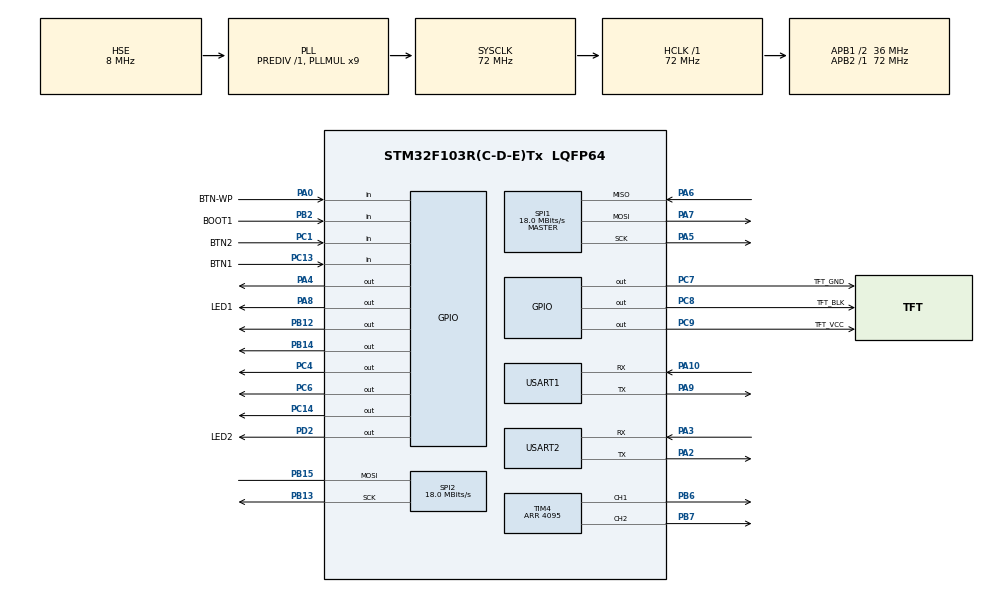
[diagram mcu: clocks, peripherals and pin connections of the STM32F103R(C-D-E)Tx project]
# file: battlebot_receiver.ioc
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FREERTOS.Tasks01=defaultTask,0,128,StartDefaultTask,Default,NULL,Dynamic,NULL,NULL;adjustDisplay,0,128,StartAdjustDisplay,Default,NULL,Dynamic,NULL,NULL;readInputs,-3,128,StartReadInputs,Default,NULL,Dynamic,NULL,NULL
FREERTOS.configTOTAL_HEAP_SIZE=6144
FREERTOS.configUSE_NEWLIB_REENTRANT=1
Mcu.Family=STM32F1
Mcu.Name=STM32F103R(C-D-E)Tx
Mcu.Package=LQFP64
NVIC.PriorityGroup=NVIC_PRIORITYGROUP_4
NVIC.TIM1_UP_IRQn=true\:15\:0\:false\:false\:true\:false\:false\:true\:true
NVIC.TimeBase=TIM1_UP_IRQn
NVIC.TimeBaseIP=TIM1
PA0-WKUP.GPIO_Label=BTN-WP
PA0-WKUP.Signal=GPIO_Input
PA10.Mode=Asynchronous
PA10.Signal=USART1_RX
PA13.Mode=Serial_Wire
PA13.Signal=SYS_JTMS-SWDIO
PA14.Mode=Serial_Wire
PA14.Signal=SYS_JTCK-SWCLK
PA2.Mode=Asynchronous
PA2.Signal=USART2_TX
PA3.Mode=Asynchronous
PA3.Signal=USART2_RX
PA4.Signal=GPIO_Output
PA5.Mode=Full_Duplex_Master
PA5.Signal=SPI1_SCK
PA6.Mode=Full_Duplex_Master
PA6.Signal=SPI1_MISO
PA7.Mode=Full_Duplex_Master
PA7.Signal=SPI1_MOSI
PA8.GPIO_Label=LED1
PA8.Signal=GPIO_Output
PA9.Mode=Asynchronous
PA9.Signal=USART1_TX
PB12.Signal=GPIO_Output
PB13.Mode=Simplex_Bidirectional_Master
PB13.Signal=SPI2_SCK
PB14.Signal=GPIO_Output
PB15.Mode=Simplex_Bidirectional_Master
PB15.Signal=SPI2_MOSI
PB2.GPIO_Label=BOOT1
PB2.Signal=GPIO_Input
PB6.Signal=S_TIM4_CH1
PB7.Signal=S_TIM4_CH2
PC1.GPIO_Label=BTN2
PC1.Signal=GPIO_Input
PC13-TAMPER-RTC.GPIO_Label=BTN1
PC13-TAMPER-RTC.Signal=GPIO_Input
PC14-OSC32_IN.Signal=GPIO_Output
PC4.Signal=GPIO_Output
PC6.Signal=GPIO_Output
PC7.GPIO_Label=TFT_GND
PC7.Signal=GPIO_Output
PC8.GPIO_Label=TFT_BLK
PC8.PinState=GPIO_PIN_SET
PC8.Signal=GPIO_Output
PC9.GPIO_Label=TFT_VCC
PC9.PinState=GPIO_PIN_SET
PC9.Signal=GPIO_Output
PD0-OSC_IN.Mode=HSE-External-Oscillator
PD0-OSC_IN.Signal=RCC_OSC_IN
PD1-OSC_OUT.Mode=HSE-External-Oscillator
PD1-OSC_OUT.Signal=RCC_OSC_OUT
PD2.GPIO_Label=LED2
PD2.Signal=GPIO_Output
ProjectManager.HeapSize=0x200
ProjectManager.StackSize=0x400
ProjectManager.TargetToolchain=STM32CubeIDE
RCC.AHBFreq_Value=72000000
RCC.APB1CLKDivider=RCC_HCLK_DIV2
RCC.APB1Freq_Value=36000000
RCC.APB1TimFreq_Value=72000000
RCC.APB2Freq_Value=72000000
RCC.APB2TimFreq_Value=72000000
RCC.HCLKFreq_Value=72000000
RCC.PLLMUL=RCC_PLL_MUL9
RCC.PLLSourceVirtual=RCC_PLLSOURCE_HSE
RCC.SYSCLKFreq_VALUE=72000000
RCC.SYSCLKSource=RCC_SYSCLKSOURCE_PLLCLK
RCC.USBFreq_Value=72000000
SH.S_TIM4_CH1.0=TIM4_CH1,PWM Generation1 CH1
SH.S_TIM4_CH2.0=TIM4_CH2,PWM Generation2 CH2
SPI1.BaudRatePrescaler=SPI_BAUDRATEPRESCALER_4
SPI1.CalculateBaudRate=18.0 MBits/s
SPI1.Direction=SPI_DIRECTION_2LINES
SPI1.Mode=SPI_MODE_MASTER
SPI1.VirtualType=VM_MASTER
SPI2.BaudRatePrescaler=SPI_BAUDRATEPRESCALER_2
SPI2.CalculateBaudRate=18.0 MBits/s
SPI2.DataSize=SPI_DATASIZE_8BIT
SPI2.Direction=SPI_DIRECTION_1LINE
SPI2.Mode=SPI_MODE_MASTER
SPI2.VirtualType=VM_MASTER
TIM4.Channel-PWM\ Generation1\ CH1=TIM_CHANNEL_1
TIM4.Channel-PWM\ Generation2\ CH2=TIM_CHANNEL_2
TIM4.Period=4095
USART1.VirtualMode=VM_ASYNC
USART2.VirtualMode=VM_ASYNC
VP_FREERTOS_VS_CMSIS_V1.Mode=CMSIS_V1
VP_SYS_VS_tim1.Mode=TIM1
VP_TIM7_VS_ClockSourceINT.Mode=Enable_Timer
board=custom

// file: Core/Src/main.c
/* USER CODE BEGIN Header */
/**
  ******************************************************************************
  * @file           : main.c
  * @brief          : Main program body
  ******************************************************************************
  * @attention
  *
  * Copyright (c) 2024 STMicroelectronics.
  * All rights reserved.
  *
  * This software is licensed under terms that can be found in the LICENSE file
  * in the root directory of this software component.
  * If no LICENSE file comes with this software, it is provided AS-IS.
  *
  ******************************************************************************
  */
/* USER CODE END Header */
#include "main.h"
#include "cmsis_os.h"

/* USER CODE BEGIN Includes */
#include <NRF24L01.h>
#include <string.h>
#include <string.h>
#include "st7735.h"
#include "fonts.h"
#include "testimg.h"
/* USER CODE END Includes */

SPI_HandleTypeDef hspi1;
SPI_HandleTypeDef hspi2;

TIM_HandleTypeDef htim4;
TIM_HandleTypeDef htim7;

UART_HandleTypeDef huart1;
UART_HandleTypeDef huart2;

osThreadId defaultTaskHandle;
osThreadId adjustDisplayHandle;
osThreadId readInputsHandle;
/* USER CODE BEGIN PV */
char commMethod = 0;
uint8_t controllerBat = 0;
/* USER CODE END PV */

void SystemClock_Config(void);
static void MX_GPIO_Init(void);
static void MX_SPI1_Init(void);
static void MX_SPI2_Init(void);
static void MX_TIM4_Init(void);
static void MX_USART1_UART_Init(void);
static void MX_USART2_UART_Init(void);
static void MX_TIM7_Init(void);
void StartDefaultTask(void const * argument);
void StartAdjustDisplay(void const * argument);
void StartReadInputs(void const * argument);

/* USER CODE BEGIN 0 */
int tempColor(int temp){
	if(atoi(temp) < 35){
		return ST7735_BLUE;
	}
	else if(atoi(temp) < 60){
		return ST7735_YELLOW;
	}
	else{
		return ST7735_RED;
	}
}
int batColor(int battery){
	if(atoi(battery) < 33){
		return ST7735_RED;
	}
	else if(atoi(battery) < 66){
		return ST7735_YELLOW;
	}
	else{
		return ST7735_GREEN;
	}
}
int connectionColor(char connectionStatus){
	if(strcmp(connectionStatus, "ok")){
		return ST7735_GREEN;
	}
	else if(strcmp(connectionStatus, "connecting...")){
		return ST7735_YELLOW;
	}
	else{
		return ST7735_RED;
	}
}

uint8_t RxAddress[] = {0x00,0xDD,0xCC,0xBB,0xAA};
uint8_t RxData[32];

uint8_t RFchannel = 69;
uint8_t data[50];

uint8_t TxAddress[] = {0xEE,0xDD,0xCC,0xBB,0xAA};
uint8_t TxData[] = "Hello World\n";

/* USER CODE END 0 */

int main(void)
{

  /* MCU Configuration--------------------------------------------------------*/

  /* Reset of all peripherals, Initializes the Flash interface and the Systick. */
  HAL_Init();

  /* Configure the system clock */
  SystemClock_Config();

  /* Initialize all configured peripherals */
  MX_GPIO_Init();
  MX_SPI1_Init();
  MX_SPI2_Init();
  MX_TIM4_Init();
  MX_USART1_UART_Init();
  MX_USART2_UART_Init();
  MX_TIM7_Init();
  /* USER CODE BEGIN 2 */
//  if(HAL_GPIO_ReadPin(BOOT1_GPIO_Port, BOOT1_Pin) == SET){
//	  commMethod = 'n';
//  }
//  else{
//	  commMethod = 'b';
//  }

  /* USER CODE END 2 */

  /* Create the thread(s) */
  /* definition and creation of defaultTask */
  osThreadDef(defaultTask, StartDefaultTask, osPriorityNormal, 0, 128);
  defaultTaskHandle = osThreadCreate(osThread(defaultTask), NULL);

  /* definition and creation of adjustDisplay */
  osThreadDef(adjustDisplay, StartAdjustDisplay, osPriorityNormal, 0, 128);
  adjustDisplayHandle = osThreadCreate(osThread(adjustDisplay), NULL);

  /* definition and creation of readInputs */
  osThreadDef(readInputs, StartReadInputs, osPriorityIdle, 0, 128);
  readInputsHandle = osThreadCreate(osThread(readInputs), NULL);

  /* Start scheduler */
  osKernelStart();

  /* We should never get here as control is now taken by the scheduler */

  /* Infinite loop */
  while (1)
  {

  }
}

void SystemClock_Config(void)
{
  RCC_OscInitTypeDef RCC_OscInitStruct = {0};
  RCC_ClkInitTypeDef RCC_ClkInitStruct = {0};

  /** Initializes the RCC Oscillators according to the specified parameters
  * in the RCC_OscInitTypeDef structure.
  */
  RCC_OscInitStruct.OscillatorType = RCC_OSCILLATORTYPE_HSE;
  RCC_OscInitStruct.HSEState = RCC_HSE_ON;
  RCC_OscInitStruct.HSEPredivValue = RCC_HSE_PREDIV_DIV1;
  RCC_OscInitStruct.HSIState = RCC_HSI_ON;
  RCC_OscInitStruct.PLL.PLLState = RCC_PLL_ON;
  RCC_OscInitStruct.PLL.PLLSource = RCC_PLLSOURCE_HSE;
  RCC_OscInitStruct.PLL.PLLMUL = RCC_PLL_MUL9;
  if (HAL_RCC_OscConfig(&RCC_OscInitStruct) != HAL_OK)
  {
    Error_Handler();
  }

  /** Initializes the CPU, AHB and APB buses clocks
  */
  RCC_ClkInitStruct.ClockType = RCC_CLOCKTYPE_HCLK|RCC_CLOCKTYPE_SYSCLK
                              |RCC_CLOCKTYPE_PCLK1|RCC_CLOCKTYPE_PCLK2;
  RCC_ClkInitStruct.SYSCLKSource = RCC_SYSCLKSOURCE_PLLCLK;
  RCC_ClkInitStruct.AHBCLKDivider = RCC_SYSCLK_DIV1;
  RCC_ClkInitStruct.APB1CLKDivider = RCC_HCLK_DIV2;
  RCC_ClkInitStruct.APB2CLKDivider = RCC_HCLK_DIV1;

  if (HAL_RCC_ClockConfig(&RCC_ClkInitStruct, FLASH_LATENCY_2) != HAL_OK)
  {
    Error_Handler();
  }
}

static void MX_SPI1_Init(void)
{

  /* SPI1 parameter configuration*/
  hspi1.Instance = SPI1;
  hspi1.Init.Mode = SPI_MODE_MASTER;
  hspi1.Init.Direction = SPI_DIRECTION_2LINES;
  hspi1.Init.DataSize = SPI_DATASIZE_8BIT;
  hspi1.Init.CLKPolarity = SPI_POLARITY_LOW;
  hspi1.Init.CLKPhase = SPI_PHASE_1EDGE;
  hspi1.Init.NSS = SPI_NSS_SOFT;
  hspi1.Init.BaudRatePrescaler = SPI_BAUDRATEPRESCALER_4;
  hspi1.Init.FirstBit = SPI_FIRSTBIT_MSB;
  hspi1.Init.TIMode = SPI_TIMODE_DISABLE;
  hspi1.Init.CRCCalculation = SPI_CRCCALCULATION_DISABLE;
  hspi1.Init.CRCPolynomial = 10;
  if (HAL_SPI_Init(&hspi1) != HAL_OK)
  {
    Error_Handler();
  }

}

static void MX_SPI2_Init(void)
{

  /* SPI2 parameter configuration*/
  hspi2.Instance = SPI2;
  hspi2.Init.Mode = SPI_MODE_MASTER;
  hspi2.Init.Direction = SPI_DIRECTION_1LINE;
  hspi2.Init.DataSize = SPI_DATASIZE_8BIT;
  hspi2.Init.CLKPolarity = SPI_POLARITY_LOW;
  hspi2.Init.CLKPhase = SPI_PHASE_1EDGE;
  hspi2.Init.NSS = SPI_NSS_SOFT;
  hspi2.Init.BaudRatePrescaler = SPI_BAUDRATEPRESCALER_2;
  hspi2.Init.FirstBit = SPI_FIRSTBIT_MSB;
  hspi2.Init.TIMode = SPI_TIMODE_DISABLE;
  hspi2.Init.CRCCalculation = SPI_CRCCALCULATION_DISABLE;
  hspi2.Init.CRCPolynomial = 10;
  if (HAL_SPI_Init(&hspi2) != HAL_OK)
  {
    Error_Handler();
  }

}

static void MX_TIM4_Init(void)
{

  TIM_MasterConfigTypeDef sMasterConfig = {0};
  TIM_OC_InitTypeDef sConfigOC = {0};

  htim4.Instance = TIM4;
  htim4.Init.Prescaler = 0;
  htim4.Init.CounterMode = TIM_COUNTERMODE_UP;
  htim4.Init.Period = 4095;
  htim4.Init.ClockDivision = TIM_CLOCKDIVISION_DIV1;
  htim4.Init.AutoReloadPreload = TIM_AUTORELOAD_PRELOAD_DISABLE;
  if (HAL_TIM_PWM_Init(&htim4) != HAL_OK)
  {
    Error_Handler();
  }
  sMasterConfig.MasterOutputTrigger = TIM_TRGO_RESET;
  sMasterConfig.MasterSlaveMode = TIM_MASTERSLAVEMODE_DISABLE;
  if (HAL_TIMEx_MasterConfigSynchronization(&htim4, &sMasterConfig) != HAL_OK)
  {
    Error_Handler();
  }
  sConfigOC.OCMode = TIM_OCMODE_PWM1;
  sConfigOC.Pulse = 0;
  sConfigOC.OCPolarity = TIM_OCPOLARITY_HIGH;
  sConfigOC.OCFastMode = TIM_OCFAST_DISABLE;
  if (HAL_TIM_PWM_ConfigChannel(&htim4, &sConfigOC, TIM_CHANNEL_1) != HAL_OK)
  {
    Error_Handler();
  }
  if (HAL_TIM_PWM_ConfigChannel(&htim4, &sConfigOC, TIM_CHANNEL_2) != HAL_OK)
  {
    Error_Handler();
  }
  HAL_TIM_MspPostInit(&htim4);

}

static void MX_TIM7_Init(void)
{

  TIM_MasterConfigTypeDef sMasterConfig = {0};

  htim7.Instance = TIM7;
  htim7.Init.Prescaler = 0;
  htim7.Init.CounterMode = TIM_COUNTERMODE_UP;
  htim7.Init.Period = 65535;
  htim7.Init.AutoReloadPreload = TIM_AUTORELOAD_PRELOAD_DISABLE;
  if (HAL_TIM_Base_Init(&htim7) != HAL_OK)
  {
    Error_Handler();
  }
  sMasterConfig.MasterOutputTrigger = TIM_TRGO_RESET;
  sMasterConfig.MasterSlaveMode = TIM_MASTERSLAVEMODE_DISABLE;
  if (HAL_TIMEx_MasterConfigSynchronization(&htim7, &sMasterConfig) != HAL_OK)
  {
    Error_Handler();
  }

}

static void MX_USART1_UART_Init(void)
{

  huart1.Instance = USART1;
  huart1.Init.BaudRate = 115200;
  huart1.Init.WordLength = UART_WORDLENGTH_8B;
  huart1.Init.StopBits = UART_STOPBITS_1;
  huart1.Init.Parity = UART_PARITY_NONE;
  huart1.Init.Mode = UART_MODE_TX_RX;
  huart1.Init.HwFlowCtl = UART_HWCONTROL_NONE;
  huart1.Init.OverSampling = UART_OVERSAMPLING_16;
  if (HAL_UART_Init(&huart1) != HAL_OK)
  {
    Error_Handler();
  }

}

static void MX_USART2_UART_Init(void)
{

  huart2.Instance = USART2;
  huart2.Init.BaudRate = 115200;
  huart2.Init.WordLength = UART_WORDLENGTH_8B;
  huart2.Init.StopBits = UART_STOPBITS_1;
  huart2.Init.Parity = UART_PARITY_NONE;
  huart2.Init.Mode = UART_MODE_TX_RX;
  huart2.Init.HwFlowCtl = UART_HWCONTROL_NONE;
  huart2.Init.OverSampling = UART_OVERSAMPLING_16;
  if (HAL_UART_Init(&huart2) != HAL_OK)
  {
    Error_Handler();
  }

}

static void MX_GPIO_Init(void)
{
  GPIO_InitTypeDef GPIO_InitStruct = {0};

  /* GPIO Ports Clock Enable */
  __HAL_RCC_GPIOC_CLK_ENABLE();
  __HAL_RCC_GPIOD_CLK_ENABLE();
  __HAL_RCC_GPIOA_CLK_ENABLE();
  __HAL_RCC_GPIOB_CLK_ENABLE();

  /*Configure GPIO pin Output Level */
  HAL_GPIO_WritePin(GPIOC, GPIO_PIN_14|GPIO_PIN_4|GPIO_PIN_6|TFT_GND_Pin, GPIO_PIN_RESET);

  /*Configure GPIO pin Output Level */
  HAL_GPIO_WritePin(GPIOA, GPIO_PIN_4|LED1_Pin, GPIO_PIN_RESET);

  /*Configure GPIO pin Output Level */
  HAL_GPIO_WritePin(GPIOB, GPIO_PIN_12|GPIO_PIN_14, GPIO_PIN_RESET);

  /*Configure GPIO pin Output Level */
  HAL_GPIO_WritePin(GPIOC, TFT_BLK_Pin|TFT_VCC_Pin, GPIO_PIN_SET);

  /*Configure GPIO pin Output Level */
  HAL_GPIO_WritePin(LED2_GPIO_Port, LED2_Pin, GPIO_PIN_RESET);

  /*Configure GPIO pins : BTN1_Pin BTN2_Pin */
  GPIO_InitStruct.Pin = BTN1_Pin|BTN2_Pin;
  GPIO_InitStruct.Mode = GPIO_MODE_INPUT;
  GPIO_InitStruct.Pull = GPIO_NOPULL;
  HAL_GPIO_Init(GPIOC, &GPIO_InitStruct);

  /*Configure GPIO pins : PC14 PC4 PC6 TFT_GND_Pin
                           TFT_BLK_Pin TFT_VCC_Pin */
  GPIO_InitStruct.Pin = GPIO_PIN_14|GPIO_PIN_4|GPIO_PIN_6|TFT_GND_Pin
                          |TFT_BLK_Pin|TFT_VCC_Pin;
  GPIO_InitStruct.Mode = GPIO_MODE_OUTPUT_PP;
  GPIO_InitStruct.Pull = GPIO_NOPULL;
  GPIO_InitStruct.Speed = GPIO_SPEED_FREQ_LOW;
  HAL_GPIO_Init(GPIOC, &GPIO_InitStruct);

  /*Configure GPIO pin : BTN_WP_Pin */
  GPIO_InitStruct.Pin = BTN_WP_Pin;
  GPIO_InitStruct.Mode = GPIO_MODE_INPUT;
  GPIO_InitStruct.Pull = GPIO_NOPULL;
  HAL_GPIO_Init(BTN_WP_GPIO_Port, &GPIO_InitStruct);

  /*Configure GPIO pins : PA4 LED1_Pin */
  GPIO_InitStruct.Pin = GPIO_PIN_4|LED1_Pin;
  GPIO_InitStruct.Mode = GPIO_MODE_OUTPUT_PP;
  GPIO_InitStruct.Pull = GPIO_NOPULL;
  GPIO_InitStruct.Speed = GPIO_SPEED_FREQ_LOW;
  HAL_GPIO_Init(GPIOA, &GPIO_InitStruct);

  /*Configure GPIO pin : BOOT1_Pin */
  GPIO_InitStruct.Pin = BOOT1_Pin;
  GPIO_InitStruct.Mode = GPIO_MODE_INPUT;
  GPIO_InitStruct.Pull = GPIO_NOPULL;
  HAL_GPIO_Init(BOOT1_GPIO_Port, &GPIO_InitStruct);

  /*Configure GPIO pins : PB12 PB14 */
  GPIO_InitStruct.Pin = GPIO_PIN_12|GPIO_PIN_14;
  GPIO_InitStruct.Mode = GPIO_MODE_OUTPUT_PP;
  GPIO_InitStruct.Pull = GPIO_NOPULL;
  GPIO_InitStruct.Speed = GPIO_SPEED_FREQ_LOW;
  HAL_GPIO_Init(GPIOB, &GPIO_InitStruct);

  /*Configure GPIO pin : LED2_Pin */
  GPIO_InitStruct.Pin = LED2_Pin;
  GPIO_InitStruct.Mode = GPIO_MODE_OUTPUT_PP;
  GPIO_InitStruct.Pull = GPIO_NOPULL;
  GPIO_InitStruct.Speed = GPIO_SPEED_FREQ_LOW;
  HAL_GPIO_Init(LED2_GPIO_Port, &GPIO_InitStruct);

}

void StartDefaultTask(void const * argument)
{
  /* USER CODE BEGIN 5 */
	if(commMethod == 'n'){
		HAL_GPIO_WritePin(LED2_GPIO_Port, LED2_Pin, GPIO_PIN_SET);
	}
  /* Infinite loop */
  for(;;)
  {
	HAL_GPIO_TogglePin(LED1_GPIO_Port, LED1_Pin);
    osDelay(500);
  }
  /* USER CODE END 5 */
}

void StartAdjustDisplay(void const * argument)
{
  /* USER CODE BEGIN StartAdjustDisplay */
	ST7735_Init();
	ST7735_FillScreen(ST7735_WHITE);
	ST7735_WriteString(0, 0, "Font_7x10, red on black, Booting...", Font_7x10, ST7735_RED, ST7735_BLACK);
	char commStatus[] = "OK";

	char temp1[] = "49";
	char temp2[] = "32";
	char temp3[] = "90";

	char batteryProcentage[] = "56";
	ST7735_FillScreen(ST7735_BLACK);
//	ST7735_FillScreen(ST7735_BLACK);
  /* Infinite loop */
  for(;;)
  {

	ST7735_WriteString(0, 0, "Connection status:", Font_7x10, connectionColor(commStatus), ST7735_BLACK);
	ST7735_WriteString(127, 0, commStatus, Font_7x10, connectionColor(commStatus), ST7735_BLACK);

	ST7735_WriteString(0, 12, "Temp1: ", Font_7x10, tempColor(temp1), ST7735_BLACK);
	ST7735_WriteString(40, 12, temp1, Font_7x10, tempColor(temp1), ST7735_BLACK);

	ST7735_WriteString(0, 23, "Temp2: ", Font_7x10, tempColor(temp2), ST7735_BLACK);
	ST7735_WriteString(40, 23, temp2, Font_7x10, tempColor(temp2), ST7735_BLACK);

	ST7735_WriteString(0, 34, "Temp3: ", Font_7x10, tempColor(temp3), ST7735_BLACK);
	ST7735_WriteString(40, 34, temp3, Font_7x10, tempColor(temp3), ST7735_BLACK);

	ST7735_WriteString(0, 45, "BATT%: ", Font_7x10, batColor(batteryProcentage), ST7735_BLACK);
	ST7735_WriteString(40, 45, batteryProcentage, Font_7x10, batColor(batteryProcentage), ST7735_BLACK);
	osDelay(500);
  }
  /* USER CODE END StartAdjustDisplay */
}

void StartReadInputs(void const * argument)
{
  for(;;)
  {
    osDelay(1);
  }
}

void HAL_TIM_PeriodElapsedCallback(TIM_HandleTypeDef *htim)
{
  if (htim->Instance == TIM1) {
    HAL_IncTick();
  }
}

void Error_Handler(void)
{
  __disable_irq();
  while (1)
  {
  }
}
